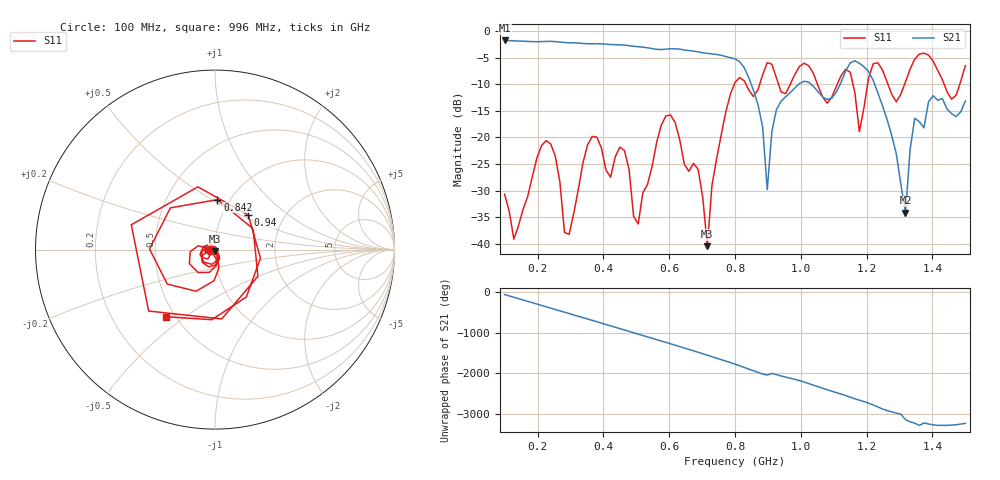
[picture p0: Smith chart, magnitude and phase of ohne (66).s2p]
! NanoVNA-App
! Date: 2025-09-25 14:21:19
! Start: 100MHz Stop: 1,5GHz Points: 101
! S-Parameter data: F S11 S21 S12 S22
# Hz S RI R 50
!  Frequency  S11_Real  S11_Imag  S21_Real  S21_Imag  S12_Real  S12_Imag  S22_Real  S22_Imag
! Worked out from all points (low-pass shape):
!   101 points, 100 MHz to 1.5 GHz, reference 50 ohm
!   highest |S21| = -1.79 dB at 100 MHz (marker M1); lowest = -34.1 dB at 1.318 GHz (marker M2)
!   |S21| within 3 dB of the highest: start of sweep to 770.6 MHz
!   lowest |S11| = -40.4 dB at 716 MHz (marker M3), VSWR 1.02, Z = 49.7 - j0.911 ohm
!   |S11| at or under -10 dB: start of sweep to 798 MHz; 833.1 MHz to 875.1 MHz (41.91 MHz wide, 4.91 % of centre); 1.05 GHz to 1.111 GHz (60.28 MHz wide, 5.58 % of centre) (the widest 3 of 7)
!   S12 and S22 are empty: the file has one direction only
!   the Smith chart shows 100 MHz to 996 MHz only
!   S11 on the Smith chart (normalised r, x): 100 MHz: 0.94, -0.01; 842 MHz: 0.88, +0.53; 940 MHz: 1.33, +0.55; 996 MHz: 0.44, -0.42
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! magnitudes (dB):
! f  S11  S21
! 100 MHz  -30.6  -1.8
! 128 MHz  -39.1  -1.9
! 226 MHz  -20.6  -2.0
! 296 MHz  -38.2  -2.2
! 338 MHz  -24.8  -2.4
! 464 MHz  -22.4  -2.7
! 506 MHz  -36.2  -3.0
! 576 MHz  -17.7  -3.5
! 688 MHz  -26.0  -3.9
! 716 MHz  -40.4  -4.2
! 800 MHz  -9.7  -5.3
! 842 MHz  -11.1  -8.8
! 898 MHz  -6.0  -29.8
! 940 MHz  -11.5  -13.2
! 996 MHz  -6.7  -9.9
! 1.038 GHz  -8.0  -10.4
! 1.178 GHz  -18.9  -6.1
! 1.22 GHz  -6.2  -9.3
! 1.276 GHz  -11.9  -19.6
! 1.318 GHz  -9.6  -34.1
! 1.346 GHz  -5.3  -16.4
! 1.5 GHz  -6.5  -13.1
